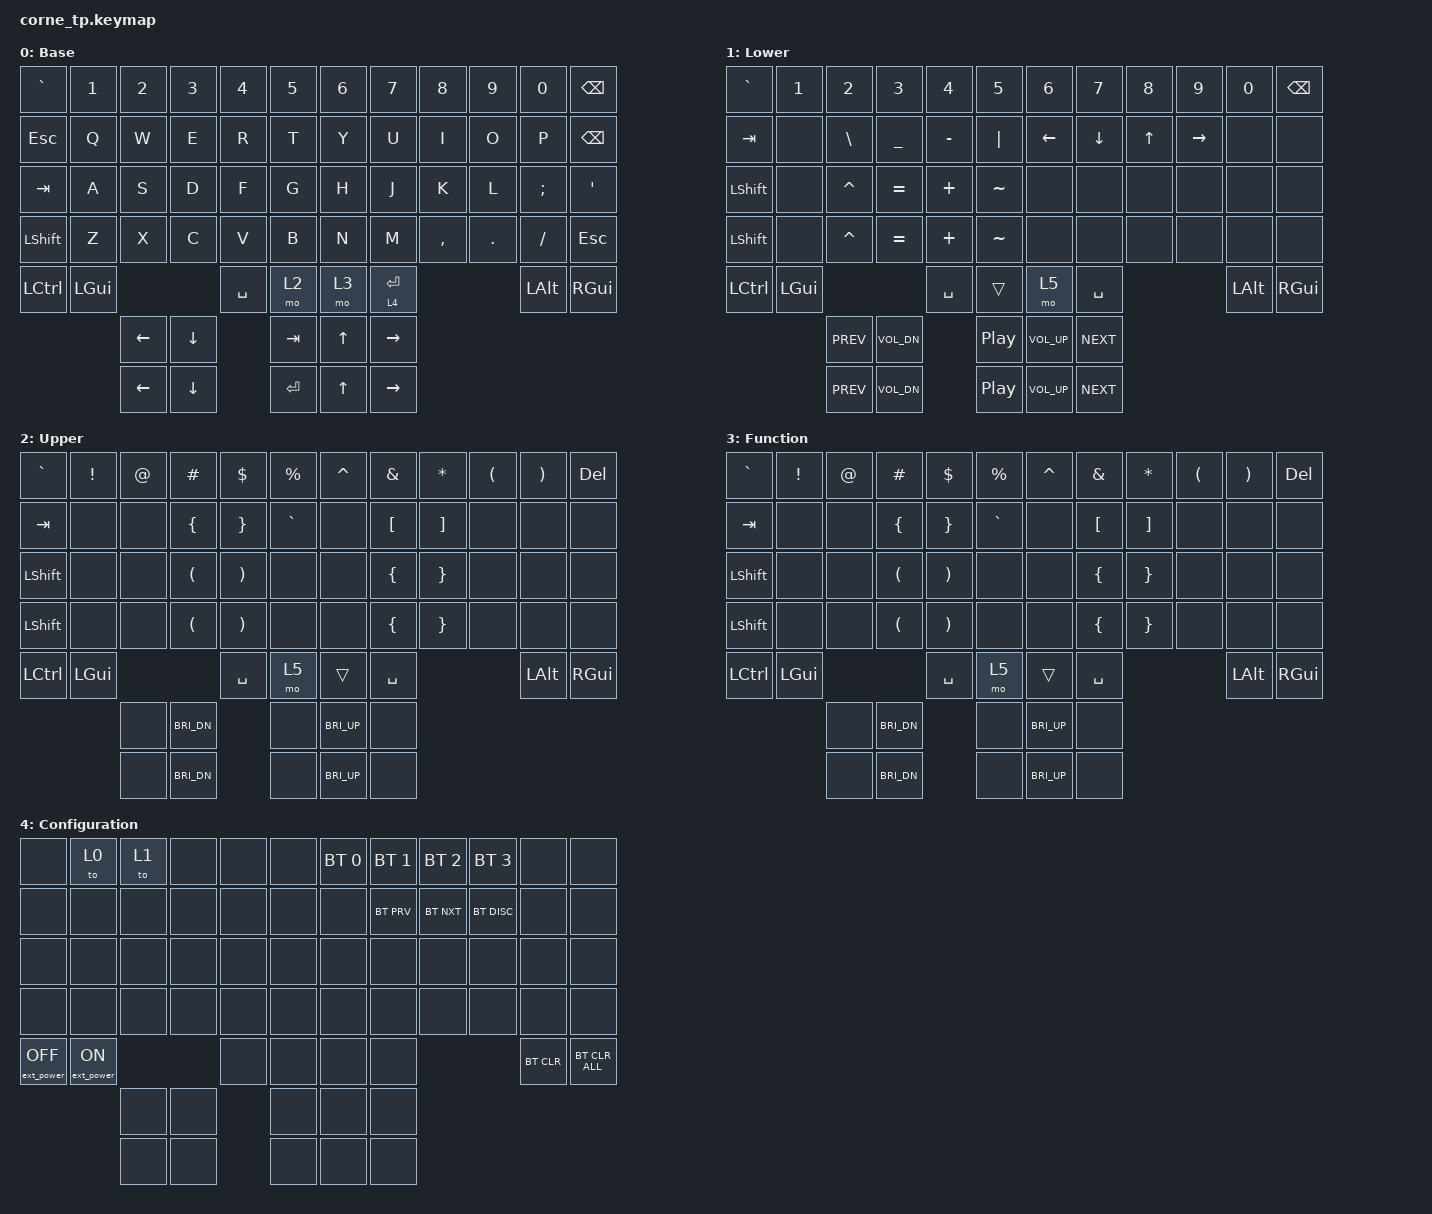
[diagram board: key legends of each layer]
/*
 * Copyright (c) 2020 The ZMK Contributors
 *
 * SPDX-License-Identifier: MIT
 */

#include <behaviors.dtsi>
#include <dt-bindings/zmk/keys.h>
#include <dt-bindings/zmk/bt.h>
#include <dt-bindings/zmk/ext_power.h>

#define BASE 0
#define LOWER 1
#define MOUSE_KEYS 2
#define MOUSE_TP 3
#define MOUSE_TP_SET 4

/*
 * Defines to enable/disable features
 *
 * These defines allow us to conditionally enable and disable parts of the keymap config.
 *
 * For example, if we decide to build the firmware without the mouse features, we can
 * disable all the config options that rely on those forks and modules without having
 * to edit the entire keymap file manually every time.
 */

#define HAS_MOUSE_KEYS
#define HAS_MOUSE_TP

#ifdef HAS_MOUSE_KEYS
  #include <dt-bindings/zmk/mouse.h>
  #include <behaviors/mouse_keys.dtsi>
#endif  // HAS_MOUSE_KEYS

#ifdef HAS_MOUSE_TP
  // We store the trackpoint settings in a separate file
  // to make organization a little easier.
  #include "include/mouse_tp.dtsi"
#endif  // HAS_MOUSE_TP



// Adjust layer keys based on enabled features.
//
// This prevents build errors when we build the firmware
// without the mouse keys PR or the TP module.
#ifdef HAS_MOUSE_KEYS
  #define U_THUMB_INNER &mo MOUSE_KEYS
#else
  #define U_THUMB_INNER &none
#endif  // HAS_MOUSE_KEYS

#ifdef HAS_MOUSE_TP
  #define U_TOG_TP_SET &tog MOUSE_TP_SET
#else
  #define U_TOG_TP_SET &none
#endif  // HAS_MOUSE_TP

// Disable line-wrap in your editor to see a "visualization" of the key layouts
/ {

  keymap {
    compatible = "zmk,keymap";

    Base_layer {
      display-name = "Base";
      bindings = <
   &kp GRAVE &kp N1   &kp N2    &kp N3    &kp N4    &kp N5        &kp N6   &kp N7    &kp N8  &kp N9    &kp N0   &kp BSPC
   &kp ESC   &kp Q    &kp W &kp E  &kp R     &kp T       &kp Y    &kp U &kp I     &kp O   &kp P    &kp BSPC
   &kp TAB   &kp A    &kp S &kp D  &kp F     &kp G       &kp H    &kp J &kp K     &kp L   &kp SEMI &kp SQT
   &kp LSHFT &kp Z    &kp X &kp C  &kp V     &kp B       &kp N    &kp M &kp COMMA &kp DOT &kp FSLH &kp ESC
   &kp LCTRL &kp LGUI              &kp SPACE &mo 2       &mo 3    &lt 4 RET               &kp LALT &kp RGUI
                                    // DPAD Left, Down, Middle, Up, Right
                        &kp LEFT  &kp DOWN  &kp TAB   &kp UP &kp RIGHT
                        &kp LEFT  &kp DOWN  &kp RET   &kp UP &kp RIGHT
      >;
    };


    Lower_layer {
      display-name = "Lower";
      bindings = <
   &kp GRAVE &kp N1   &kp N2    &kp N3    &kp N4    &kp N5        &kp N6   &kp N7    &kp N8  &kp N9    &kp N0   &kp BSPC
   &kp TAB   &none    &kp BSLH  &kp UNDER &kp MINUS &kp PIPE      &kp LEFT &kp DOWN  &kp UP  &kp RIGHT &none    &none
   &kp LSHFT &none    &kp CARET &kp EQUAL &kp PLUS  &kp TILDE     &none    &none     &none   &none     &none    &none
   &kp LSHFT &none    &kp CARET &kp EQUAL &kp PLUS  &kp TILDE     &none    &none     &none   &none     &none    &none
   &kp LCTRL &kp LGUI                     &kp SPACE &trans        &mo 5    &kp SPACE                   &kp LALT &kp RGUI
                                    // DPAD Left, Down, Middle, Up, Right
                        &kp C_PREV &kp C_VOL_DN  &kp C_PP &kp C_VOL_UP &kp C_NEXT
                        &kp C_PREV &kp C_VOL_DN  &kp C_PP &kp C_VOL_UP &kp C_NEXT
      >;
    };

    Upper_layer {
      display-name = "Upper";
      bindings = <
   &kp GRAVE &kp EXCL &kp AT &kp HASH &kp DLLR  &kp PRCNT        &kp CARET &kp AMPS  &kp ASTRK &kp LPAR &kp RPAR &kp DEL
   &kp TAB   &none    &none  &kp LBRC &kp RBRC  &kp GRAVE        &none     &kp LBKT  &kp RBKT  &none    &none    &none
   &kp LSHFT &none    &none  &kp LPAR &kp RPAR  &none            &none     &kp LBRC  &kp RBRC  &none    &none    &none
   &kp LSHFT &none    &none  &kp LPAR &kp RPAR  &none            &none     &kp LBRC  &kp RBRC  &none    &none    &none
   &kp LCTRL &kp LGUI                 &kp SPACE &mo 5            &trans    &kp SPACE                    &kp LALT &kp RGUI
                                    // DPAD Left, Down, Middle, Up, Right
                                    &none &kp C_BRI_DN  &none &kp C_BRI_UP &none
                                    &none &kp C_BRI_DN  &none &kp C_BRI_UP &none
      >;
    };

    Func_layer {
      display-name = "Function";
      bindings = <
   &kp GRAVE &kp EXCL &kp AT &kp HASH &kp DLLR  &kp PRCNT        &kp CARET &kp AMPS  &kp ASTRK &kp LPAR &kp RPAR &kp DEL
   &kp TAB   &none    &none  &kp LBRC &kp RBRC  &kp GRAVE        &none     &kp LBKT  &kp RBKT  &none    &none    &none
   &kp LSHFT &none    &none  &kp LPAR &kp RPAR  &none            &none     &kp LBRC  &kp RBRC  &none    &none    &none
   &kp LSHFT &none    &none  &kp LPAR &kp RPAR  &none            &none     &kp LBRC  &kp RBRC  &none    &none    &none
   &kp LCTRL &kp LGUI                 &kp SPACE &mo 5            &trans    &kp SPACE                    &kp LALT &kp RGUI
                                    // DPAD Left, Down, Middle, Up, Right
                                    &none &kp C_BRI_DN  &none &kp C_BRI_UP &none
                                    &none &kp C_BRI_DN  &none &kp C_BRI_UP &none
      >;
    };

    Config_layer {
      display-name = "Configuration";
      bindings = <
   &none        &to 0       &to 1 &none &none &none           &bt BT_SEL 0 &bt BT_SEL 1 &bt BT_SEL 2 &bt BT_SEL 3 &none &none
   &none        &none       &none &none &none &none           &none        &bt BT_PRV   &bt BT_NXT   &bt BT_DISC  &none &none
   &none        &none       &none &none &none &none           &none        &none        &none        &none        &none &none
   &none        &none       &none &none &none &none           &none        &none        &none        &none        &none &none
   &ext_power EP_OFF &ext_power EP_ON   &none &none           &none        &none                  &bt BT_CLR   &bt BT_CLR_ALL
                                    // DPAD Left, Down, Middle, Up, Right
                                    // DPAD Left, Down, Middle, Up, Right
                                      &none &none &none &none &none
                                      &none &none &none &none &none
      >;
    };

#ifdef HAS_MOUSE_KEYS

#endif
#ifdef HAS_MOUSE_TP
#endif

 

  };
};
